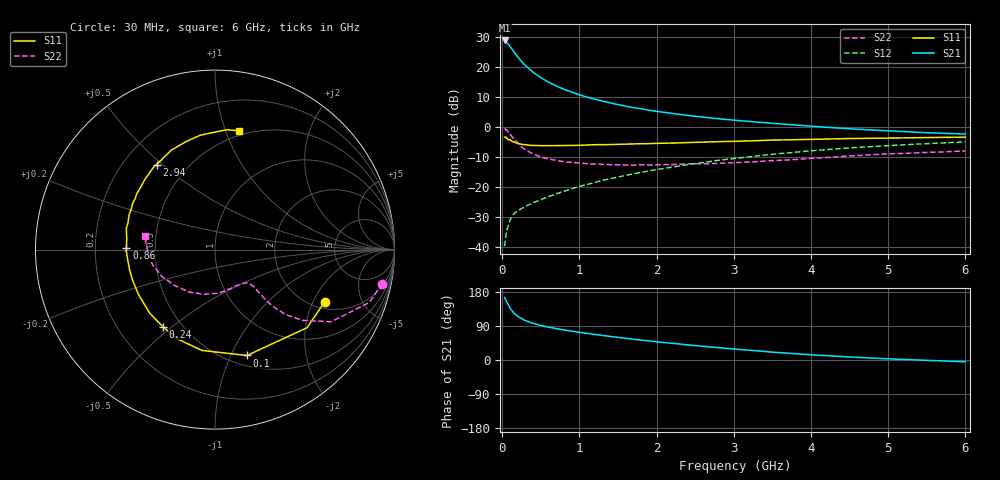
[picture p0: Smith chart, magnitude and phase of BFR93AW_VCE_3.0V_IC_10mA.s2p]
! Infineon Technologies  Discrete & RF Semiconductors
! BFR93AW
! VCE =  3.0 V,  IC =  10 mA
! Common Emitter S-Parameters:  Nov 2015
# GHz  S  MA  R  50
!  f  S11  S21  S12  S22
! GHz  MAG  ANG  MAG  ANG  MAG  ANG  MAG  ANG
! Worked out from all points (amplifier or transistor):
!   206 points, 30 MHz to 6 GHz, reference 50 ohm
!   highest |S21| = 28.8 dB at 30 MHz (marker M1)
!   |S21| within 3 dB of that: start of sweep to 128.3 MHz
!   unconditionally stable (mu >= 1): 726.9 MHz to 2.323 GHz
!   at 200 MHz: K = 0.49, MSG = 25.6 dB, |S12| = -27.9 dB
!   at 1.56 GHz: K = 1.06, MAG = 10.2 dB, |S12| = -16.3 dB
!   at 6 GHz: K = 0.93, MSG = 1.3 dB, |S12| = -4.9 dB
!   S11 on the Smith chart (normalised r, x): 30 MHz: 2.30, -2.47; 100 MHz: 0.61, -1.15; 240 MHz: 0.40, -0.46; 860 MHz: 0.34, +0.01; 2.94 GHz: 0.34, +0.48; 6 GHz: 0.46, +1.11
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0.03  0.677 -25.4  27.51 165.1  0.0104 77.1  0.9503 -11.5
0.05  0.6728 -40.3  26.47 155.2  0.0168 72.8  0.9089 -18.9
0.1  0.6162 -73.2  22.02 136.6  0.0285 60.6  0.7611 -31.9
0.15  0.5665 -97.5  17.73 123.7  0.0357 55.0  0.6284 -38.9
0.2  0.5395 -113.7  14.59 115.0  0.0405 52.3  0.5345 -42.6
0.24  0.5177 -124.1  12.68 110.1  0.0433 51.6  0.4783 -43.8
0.26  0.5123 -128.7  11.86 107.8  0.0448 51.5  0.455 -44.3
0.3  0.5072 -136.2  10.49 103.8  0.0478 51.7  0.4179 -44.8
0.4  0.4941 -150.2  8.095 96.5  0.0548 54.5  0.3542 -44.4
0.5  0.4898 -160.0  6.607 90.9  0.062 56.4  0.3156 -44.1
0.6  0.4893 -167.0  5.554 86.6  0.0696 58.6  0.2934 -43.8
0.7  0.4897 -173.2  4.812 82.7  0.0773 60.1  0.2781 -44.4
0.86  0.4937 179.1  3.963 77.4  0.0905 62.2  0.2598 -45.9
1.04  0.4974 171.8  3.307 71.8  0.1059 63.8  0.2481 -48.7
1.2  0.5084 166.3  2.884 67.3  0.1196 64.4  0.242 -52.0
1.5  0.5168 158.0  2.349 59.6  0.1475 65.0  0.2352 -59.4
2.02  0.5355 144.3  1.805 47.6  0.1975 63.6  0.2358 -74.6
2.94  0.5746 124.5  1.32 30.1  0.2927 57.3  0.2536 -101.5
3.1  0.5811 121.2  1.266 27.5  0.309 55.7  0.2581 -106.9
4.1  0.6258 103.4  1.009 12.6  0.4108 45.5  0.3048 -141.4
5.1  0.6564 89.4  0.85 2.2  0.4981 33.9  0.3604 -169.1
6  0.6754 78.7  0.763 -4.6  0.5656 23.9  0.3997 168.7
